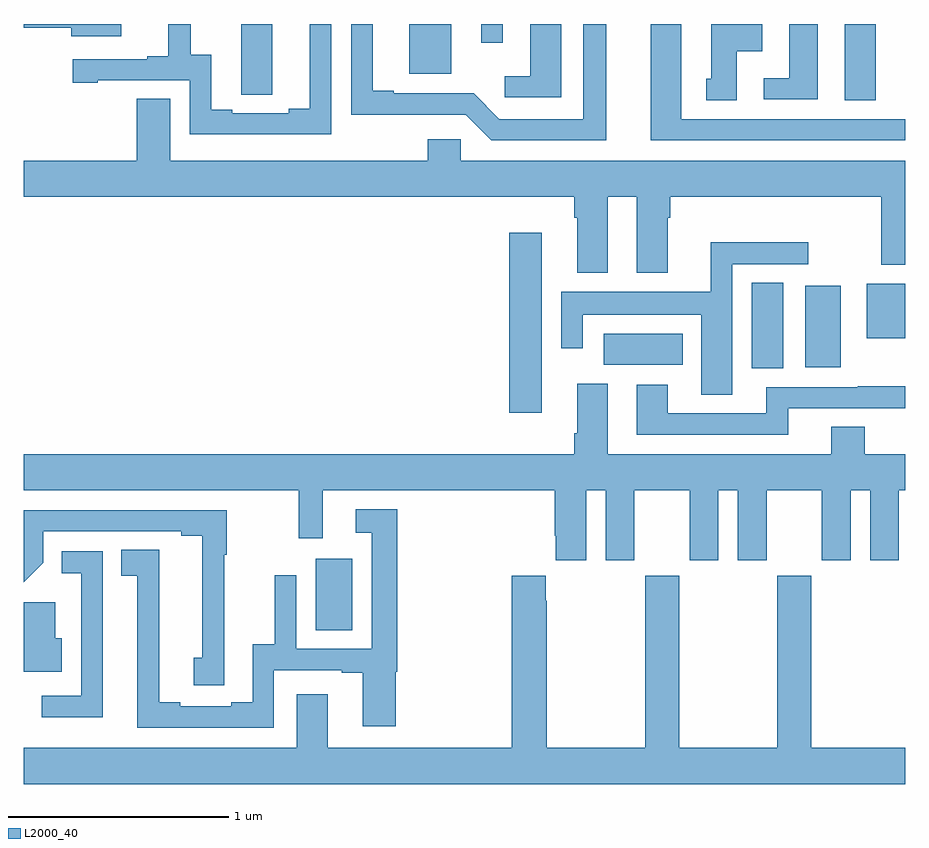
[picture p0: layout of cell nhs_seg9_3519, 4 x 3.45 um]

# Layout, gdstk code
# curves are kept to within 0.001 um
import gdstk
lib = gdstk.Library(unit=1e-6, precision=1e-09)
def R(c, l, rs):  # rectangles x0, y0, x1, y1
    for r in rs: c.add(gdstk.rectangle(r[:2], r[2:], *l))
def P(c, l, *ps):  # polygons
    for p in ps: c.add(gdstk.Polygon(p, *l))
L2000_40 = (2000, 40)

nhs_seg9_3519 = lib.new_cell('nhs_seg9_3519')
R(nhs_seg9_3519, L2000_40, [(312.326,1231.75,312.49,1232.074), (313.202,1232.736,313.351,1233.553), (314.303,1232.938,314.446,1233.326), (314.546,1232.942,314.707,1233.313), (313.632,1232.954,313.99,1233.094), (314.825,1233.074,315,1233.322), (314.726,1234.153,314.866,1234.5), (312.749,1234.274,312.94,1234.5), (313.076,1234.416,313.173,1234.5)])
P(nhs_seg9_3519, L2000_40, [(312.396,1234.5),(312.299,1234.5),(312.299,1234.115),(312.203,1234.115),(312.203,1234.095),(311.947,1234.095),(311.947,1234.11),(311.851,1234.11),(311.851,1234.361),(311.757,1234.361),(311.757,1234.5),(311.657,1234.5),(311.657,1234.354),(311.561,1234.354),(311.561,1234.341),(311.223,1234.341),(311.223,1234.233),(311.335,1234.233),(311.335,1234.245),(311.754,1234.245),(311.754,1233.999),(312.396,1233.999)],
  [(311.443,1234.5),(311,1234.5),(311,1234.484),(311.216,1234.484),(311.216,1234.445),(311.443,1234.445)],
  [(313.438,1234.5),(313.298,1234.5),(313.298,1234.264),(313.182,1234.264),(313.182,1234.167),(313.438,1234.167)],
  [(314.236,1234.376),(314.35,1234.376),(314.35,1234.5),(314.12,1234.5),(314.12,1234.251),(314.096,1234.251),(314.096,1234.153),(314.236,1234.153)],
  [(313.642,1234.5),(313.538,1234.5),(313.538,1234.068),(313.158,1234.068),(313.041,1234.185),(312.679,1234.185),(312.679,1234.198),(312.583,1234.198),(312.583,1234.5),(312.486,1234.5),(312.486,1234.088),(313.005,1234.089),(313.122,1233.972),(313.642,1233.972)],
  [(312.127,1234.5),(311.987,1234.5),(311.987,1234.288),(311.988,1234.288),(311.988,1234.18),(312.127,1234.18)],
  [(314.602,1234.5),(314.474,1234.5),(314.474,1234.254),(314.358,1234.254),(314.358,1234.158),(314.602,1234.158)],
  [(315,1234.068),(313.984,1234.068),(313.984,1234.5),(313.844,1234.5),(313.844,1233.972),(315,1233.972)],
  [(313.651,1233.716),(313.781,1233.716),(313.781,1233.371),(313.921,1233.371),(313.921,1233.62),(313.934,1233.62),(313.934,1233.716),(314.89,1233.716),(314.89,1233.407),(315,1233.407),(315,1233.88),(312.984,1233.88),(312.984,1233.978),(312.833,1233.978),(312.833,1233.88),(311.665,1233.88),(311.665,1234.16),(311.513,1234.16),(311.513,1233.88),(311,1233.88),(311,1233.716),(313.499,1233.716),(313.499,1233.62),(313.511,1233.62),(313.511,1233.371),(313.651,1233.371)],
  [(314.215,1233.411),(314.56,1233.411),(314.56,1233.509),(314.117,1233.509),(314.117,1233.286),(313.44,1233.286),(313.44,1233.03),(313.536,1233.03),(313.536,1233.182),(314.075,1233.182),(314.075,1232.818),(314.215,1232.818)],
  [(313.552,1232.384),(313.64,1232.384),(313.64,1232.067),(313.771,1232.067),(313.771,1232.384),(314.021,1232.384),(314.021,1232.067),(314.152,1232.067),(314.152,1232.384),(314.24,1232.384),(314.24,1232.067),(314.371,1232.067),(314.371,1232.384),(314.621,1232.384),(314.621,1232.067),(314.752,1232.067),(314.752,1232.384),(314.84,1232.384),(314.84,1232.067),(314.971,1232.067),(314.971,1232.384),(315,1232.384),(315,1232.548),(314.816,1232.548),(314.816,1232.672),(314.663,1232.672),(314.663,1232.548),(313.651,1232.548),(313.651,1232.869),(313.511,1232.869),(313.511,1232.644),(313.499,1232.644),(313.499,1232.548),(311,1232.548),(311,1232.384),(312.249,1232.384),(312.249,1232.166),(312.358,1232.166),(312.358,1232.384),(313.409,1232.384),(313.409,1232.179),(313.415,1232.179),(313.415,1232.067),(313.552,1232.067)],
  [(314.468,1232.757),(315,1232.757),(315,1232.856),(314.785,1232.856),(314.785,1232.853),(314.369,1232.853),(314.369,1232.733),(313.921,1232.733),(313.921,1232.863),(313.781,1232.863),(313.781,1232.637),(314.468,1232.637)],
  [(312.135,1231.569),(312.443,1231.569),(312.443,1231.557),(312.539,1231.557),(312.539,1231.314),(312.689,1231.314),(312.689,1231.562),(312.695,1231.562),(312.695,1232.299),(312.507,1232.299),(312.507,1232.193),(312.579,1232.193),(312.579,1231.665),(312.237,1231.665),(312.237,1231.999),(312.139,1231.999),(312.139,1231.685),(312.039,1231.685),(312.039,1231.424),(311.942,1231.424),(311.942,1231.404),(311.71,1231.404),(311.71,1231.424),(311.614,1231.424),(311.614,1231.705),(311.615,1231.705),(311.615,1232.114),(311.443,1232.114),(311.443,1231.996),(311.516,1231.996),(311.516,1231.308),(312.135,1231.308)],
  [(311.911,1232.092),(311.921,1232.092),(311.921,1232.295),(311,1232.295),(311,1231.967),(311.088,1232.055),(311.088,1232.199),(311.714,1232.199),(311.714,1232.179),(311.81,1232.179),(311.81,1231.624),(311.771,1231.624),(311.771,1231.5),(311.911,1231.5)],
  [(311.359,1231.906),(311.358,1231.906),(311.358,1232.109),(311.173,1232.109),(311.173,1232.008),(311.262,1232.008),(311.262,1231.452),(311.082,1231.452),(311.082,1231.355),(311.359,1231.355)],
  [(315,1231.216),(314.574,1231.216),(314.574,1231.996),(314.419,1231.996),(314.419,1231.216),(313.974,1231.216),(313.974,1231.996),(313.819,1231.996),(313.819,1231.216),(313.374,1231.216),(313.374,1231.883),(313.369,1231.883),(313.369,1231.996),(313.214,1231.996),(313.214,1231.216),(312.379,1231.216),(312.379,1231.459),(312.239,1231.459),(312.239,1231.216),(311,1231.216),(311,1231.052),(315,1231.052)],
  [(311.173,1231.714),(311.143,1231.714),(311.143,1231.876),(311,1231.876),(311,1231.562),(311.173,1231.562)])

lib.write_gds('nhs_seg9_3519.gds')
